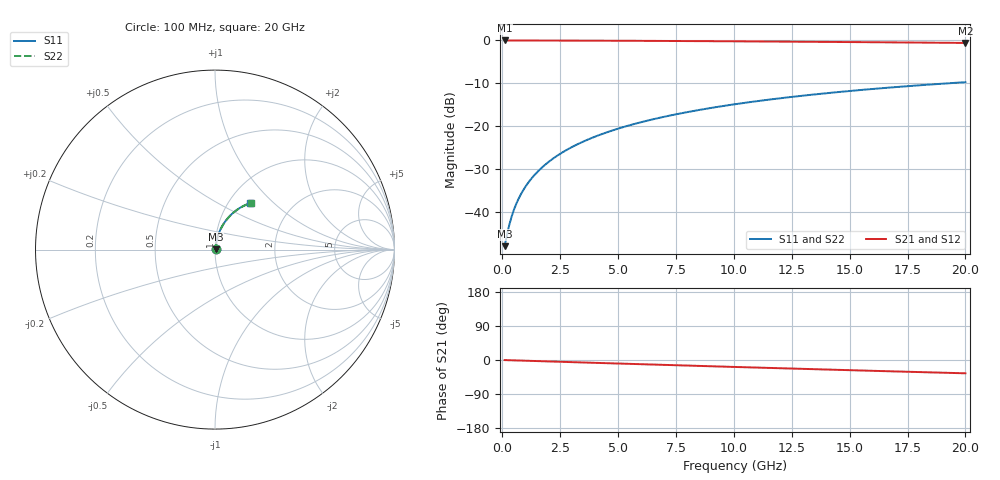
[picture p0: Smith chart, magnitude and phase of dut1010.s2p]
! Touchstone file exported from HFSS 2026.1.0
!  File:  C:/ffzhzh/LocalFiles/Ansys_Project_Files/temp_train_TMRDL_1010_1783159697_55132.aedt
!  Generated:  06:09:30 PM Jul  4, 2026
!  Design:  TMRDL
!  Project:  temp_train_TMRDL_1010_1783159697_55132
! Variables:
!  h_bsmrdl = 2um
!  h_ox = 20um
!  h_rdl = 5um
!  h_sub = 80um
!  h_tmrdl = 4.09um
!  h_tsv = 80um
!  h_via = 3um
!  l_bsmrdl = 300um
!  l_sub = 920.21um
!  l_tmrdl = 520.21um
!  m_sub = 200um
!  pitch = 32.48um
!  r_tsv = 6um
!  s_tmrdl = 10um
!  w_bsmrdl = 18um
!  w_sub = 500um
!  w_tmrdl = 13.36um
!  x_tsv_center1 = 526.89um
!  x_tsv_center2 = 844.89um
!  x_tsv_center3 = 1378.46um
!  x_tsv_center4 = 1696.46um
!  x_tsv_center5 = 2230.03um
!  x_tsv_center6 = 2548.03um
# GHz S MA R 50.000000
! Terminal data exported
! Port[1] = TM_RDL1_1_T1
! Port[2] = TM_RDL1_1_T2
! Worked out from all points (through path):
!   200 points, 100 MHz to 20 GHz, reference 50 ohm
!   highest |S21| = -0.03 dB at 100 MHz (marker M1); lowest = -0.6 dB at 20 GHz (marker M2)
!   group delay of S21, straight-line fit = 4.87 ps
!   lowest |S11| = -47.9 dB at 100 MHz (marker M3), VSWR 1.01, Z = 50.3 + j0.207 ohm
!   |S11| at or under -10 dB: start of sweep to 19.24 GHz
!   |S22| runs from -47.9 to -9.7 dB; largest |S21 - S12| = 2.2e-15
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0.1  0.004032 30.6  0.9965 -0.2  0.9965 -0.2  0.004032 30.6
! Gamma 0 0 0 0
! Port Impedance 50 0 50 0
0.2  0.005421 48.7  0.9964 -0.4  0.9964 -0.4  0.005421 48.7
0.3  0.007095 58.4  0.9963 -0.6  0.9963 -0.6  0.007096 58.4
0.4  0.008861 64.1  0.9962 -0.8  0.9962 -0.8  0.008862 64.1
0.5  0.01066 67.8  0.9961 -1.0  0.9961 -1.0  0.01066 67.8
0.6  0.01247 70.5  0.996 -1.2  0.996 -1.2  0.01248 70.5
0.8  0.01614 73.9  0.9958 -1.5  0.9958 -1.5  0.01614 73.9
1.1  0.02169 76.8  0.9956 -2.1  0.9956 -2.1  0.02169 76.8
1.3  0.02542 77.9  0.9954 -2.5  0.9954 -2.5  0.02542 77.8
1.6  0.03103 78.8  0.9952 -3.0  0.9952 -3.0  0.03103 78.8
2.1  0.04041 79.5  0.9946 -4.0  0.9946 -4.0  0.04041 79.5
2.7  0.05163 79.5  0.9938 -5.1  0.9938 -5.1  0.05163 79.5
3.5  0.06648 78.8  0.9924 -6.6  0.9924 -6.6  0.06648 78.8
4.2  0.07934 77.9  0.9911 -7.9  0.9911 -7.9  0.07934 77.9
5  0.09386 76.8  0.9893 -9.3  0.9893 -9.3  0.09386 76.8
5.9  0.1099 75.4  0.987 -11.0  0.987 -11.0  0.1099 75.4
6.8  0.1258 74.0  0.9845 -12.6  0.9845 -12.6  0.1258 73.9
8.3  0.1515 71.5  0.9799 -15.3  0.9799 -15.3  0.1515 71.5
10.1  0.1815 68.5  0.9739 -18.5  0.9739 -18.5  0.1815 68.5
13.4  0.2335 63.2  0.9614 -24.2  0.9614 -24.2  0.2335 63.1
16.7  0.2818 57.9  0.9474 -29.7  0.9474 -29.7  0.2818 57.8
20  0.326 52.7  0.9326 -35.1  0.9326 -35.1  0.326 52.6
